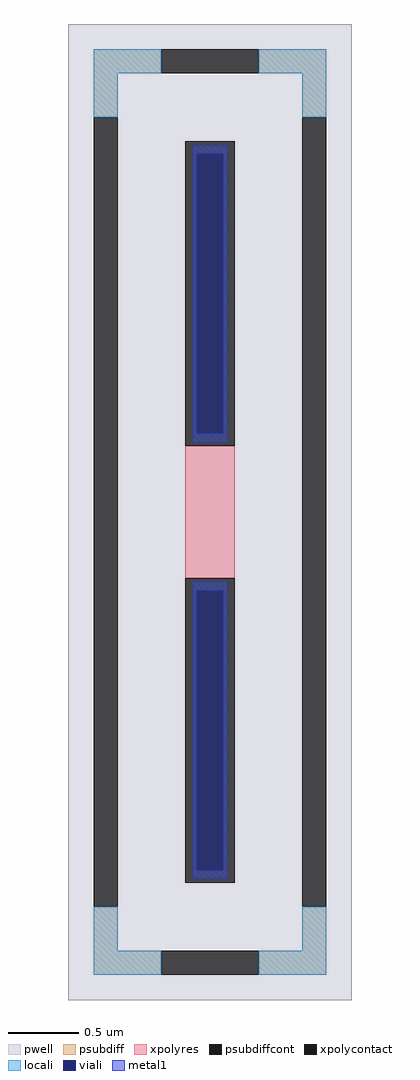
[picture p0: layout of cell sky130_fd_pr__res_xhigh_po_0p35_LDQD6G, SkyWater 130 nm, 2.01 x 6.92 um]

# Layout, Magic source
magic
tech sky130A
magscale 1 2
<< pwell >>
rect -201 -692 201 692
<< psubdiff >>
rect -165 622 -69 656
rect 69 622 165 656
rect -165 560 -131 622
rect 131 560 165 622
rect -165 -622 -131 -560
rect 131 -622 165 -560
rect -165 -656 -69 -622
rect 69 -656 165 -622
<< psubdiffcont >>
rect -69 622 69 656
rect -165 -560 -131 560
rect 131 -560 165 560
rect -69 -656 69 -622
<< xpolycontact >>
rect -35 94 35 526
rect -35 -526 35 -94
<< xpolyres >>
rect -35 -94 35 94
<< locali >>
rect -165 622 -69 656
rect 69 622 165 656
rect -165 560 -131 622
rect 131 560 165 622
rect -165 -622 -131 -560
rect 131 -622 165 -560
rect -165 -656 -69 -622
rect 69 -656 165 -622
<< viali >>
rect -19 111 19 508
rect -19 -508 19 -111
<< metal1 >>
rect -25 508 25 520
rect -25 111 -19 508
rect 19 111 25 508
rect -25 99 25 111
rect -25 -111 25 -99
rect -25 -508 -19 -111
rect 19 -508 25 -111
rect -25 -520 25 -508
<< properties >>
string FIXED_BBOX -148 -639 148 639
string gencell sky130_fd_pr__res_xhigh_po_0p35
string library sky130
string parameters w 0.35 l 1.1 m 1 nx 1 wmin 0.350 lmin 0.50 rho 2000 val 7.361k dummy 0 dw 0.0 term 188.2 sterm 0.0 caplen 0 wmax 0.350 guard 1 glc 1 grc 1 gtc 1 gbc 1 compatible {sky130_fd_pr__res_xhigh_po_0p35  sky130_fd_pr__res_xhigh_po_0p69 sky130_fd_pr__res_xhigh_po_1p41  sky130_fd_pr__res_xhigh_po_2p85 sky130_fd_pr__res_xhigh_po_5p73} snake 0 full_metal 1 n_guard 0 hv_guard 0 vias 1 viagb 0 viagt 0 viagl 0 viagr 0
<< end >>
